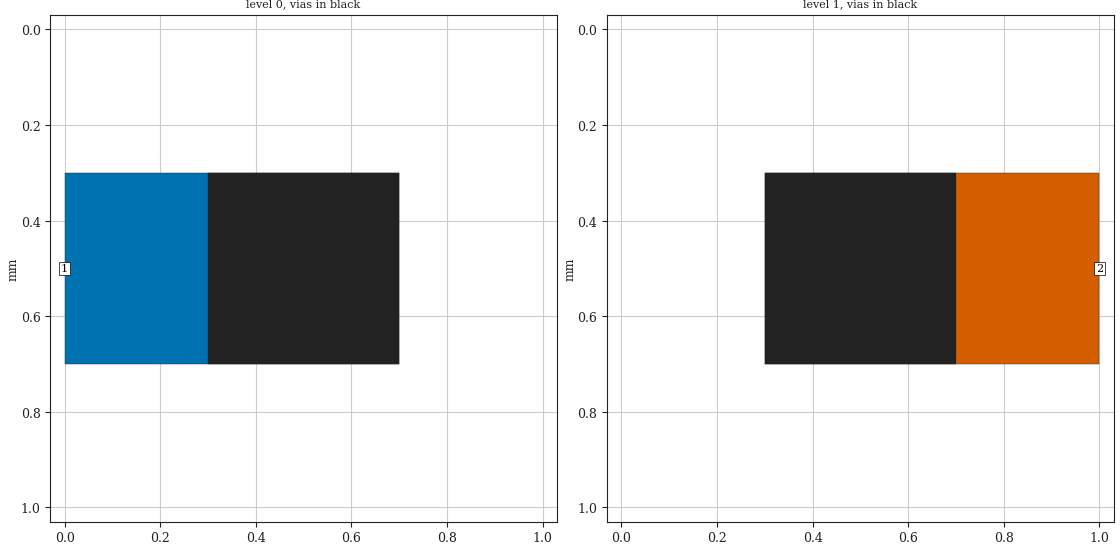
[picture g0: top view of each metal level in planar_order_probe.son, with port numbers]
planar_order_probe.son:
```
FTYP SONPROJ 19
DIM
ANG DEG
CAP PF
CON /OH
FREQ GHZ
IND NH
LNG MM
RES OH
END DIM
CONTROL
OPTIONS
SPEED 0
SUBSPLAM N 100
END CONTROL
GEO
TMET "Lossless" 0 SUP 0 0 0 0
BMET "Lossless" 0 SUP 0 0 0 0
MET "Planar" 1 SUP 1 2 3 4
MET "Bulk" 1 SFC 1 1e-5 .2
BOX 2 1 1 160 160 100 0
.5 1 1 0 0 0 2 "Air"
.5 1 1 0 0 0 2 "Air"
.5 1 1 0 0 0 2 "Air"
POR1 BOX
POLY 1 1
3
1 50 0 0 0 0 .5
POR1 BOX
POLY 2 1
1
2 50 0 0 0 1 .5
NUM 3
0 5 0 N 1 1 1 100 100 0 0 0 Y
0.0 0.3
0.7 0.3
0.7 0.7
0.0 0.7
0.0 0.3
END
1 5 -1 N 2 1 1 100 100 0 0 0 Y
0.3 0.3
1.0 0.3
1.0 0.7
0.3 0.7
0.3 0.3
END
VIA POLYGON
0 5 1 N 3 1 1 100 100 0 0 0 Y
TOLEVEL 1 RING NOCOVERS
0.3 0.3
0.7 0.3
0.7 0.7
0.3 0.7
0.3 0.3
END
END GEO
VARSWP
ENABLED Y
FREQ Y AN SWEEP 1.0
END
END VARSWP
FILEOUT
TOUCH ND Y native_raw.s2p IC 15 S RI R 50
FOLDER .
END FILEOUT
```
